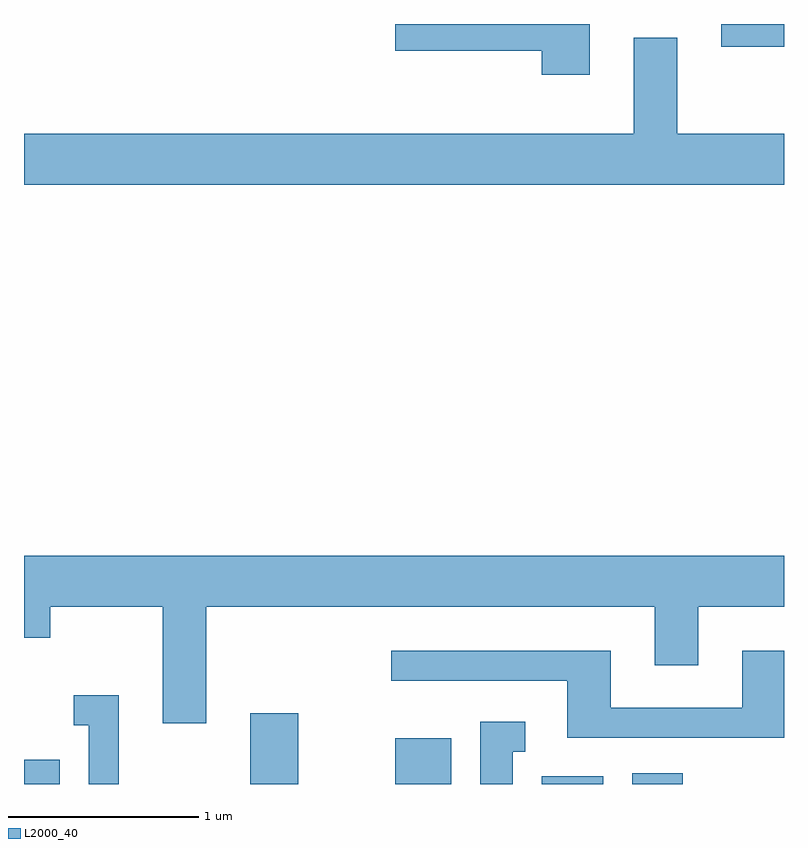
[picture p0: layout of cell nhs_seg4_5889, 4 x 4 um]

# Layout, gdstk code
import gdstk
lib = gdstk.Library(unit=1e-6, precision=1e-09)
def R(c, l, rs):  # rectangles x0, y0, x1, y1
    for r in rs: c.add(gdstk.rectangle(r[:2], r[2:], *l))
def P(c, l, *ps):  # polygons
    for p in ps: c.add(gdstk.Polygon(p, *l))
L2000_40 = (2000, 40)

nhs_seg4_5889 = lib.new_cell('nhs_seg4_5889')
R(nhs_seg4_5889, L2000_40, [(357.611,1335.982,357.799,1336.109), (358.801,1335.982,359.054,1336.354), (359.566,1335.982,359.859,1336.224), (360.336,1335.982,360.659,1336.024), (360.811,1335.982,361.079,1336.039), (361.281,1339.861,361.611,1339.982)])
P(nhs_seg4_5889, L2000_40, [(360.589,1339.982),(359.566,1339.982),(359.566,1339.841),(360.336,1339.841),(360.336,1339.716),(360.589,1339.716)],
  [(361.611,1339.404),(361.049,1339.404),(361.049,1339.909),(360.821,1339.909),(360.821,1339.404),(357.611,1339.404),(357.611,1339.136),(361.611,1339.136)],
  [(358.569,1336.916),(360.931,1336.916),(360.931,1336.606),(361.159,1336.606),(361.159,1336.916),(361.611,1336.916),(361.611,1337.184),(357.611,1337.184),(357.611,1336.751),(357.749,1336.751),(357.749,1336.916),(358.341,1336.916),(358.341,1336.301),(358.569,1336.301)],
  [(361.611,1336.684),(361.391,1336.684),(361.391,1336.384),(360.699,1336.384),(360.699,1336.684),(359.543,1336.684),(359.543,1336.526),(360.471,1336.526),(360.471,1336.226),(361.611,1336.226)],
  [(358.109,1336.449),(357.873,1336.449),(357.873,1336.291),(357.951,1336.291),(357.951,1335.982),(358.109,1335.982)],
  [(360.184,1336.151),(360.248,1336.151),(360.248,1336.309),(360.011,1336.309),(360.011,1335.982),(360.184,1335.982)])

lib.write_gds('nhs_seg4_5889.gds')
